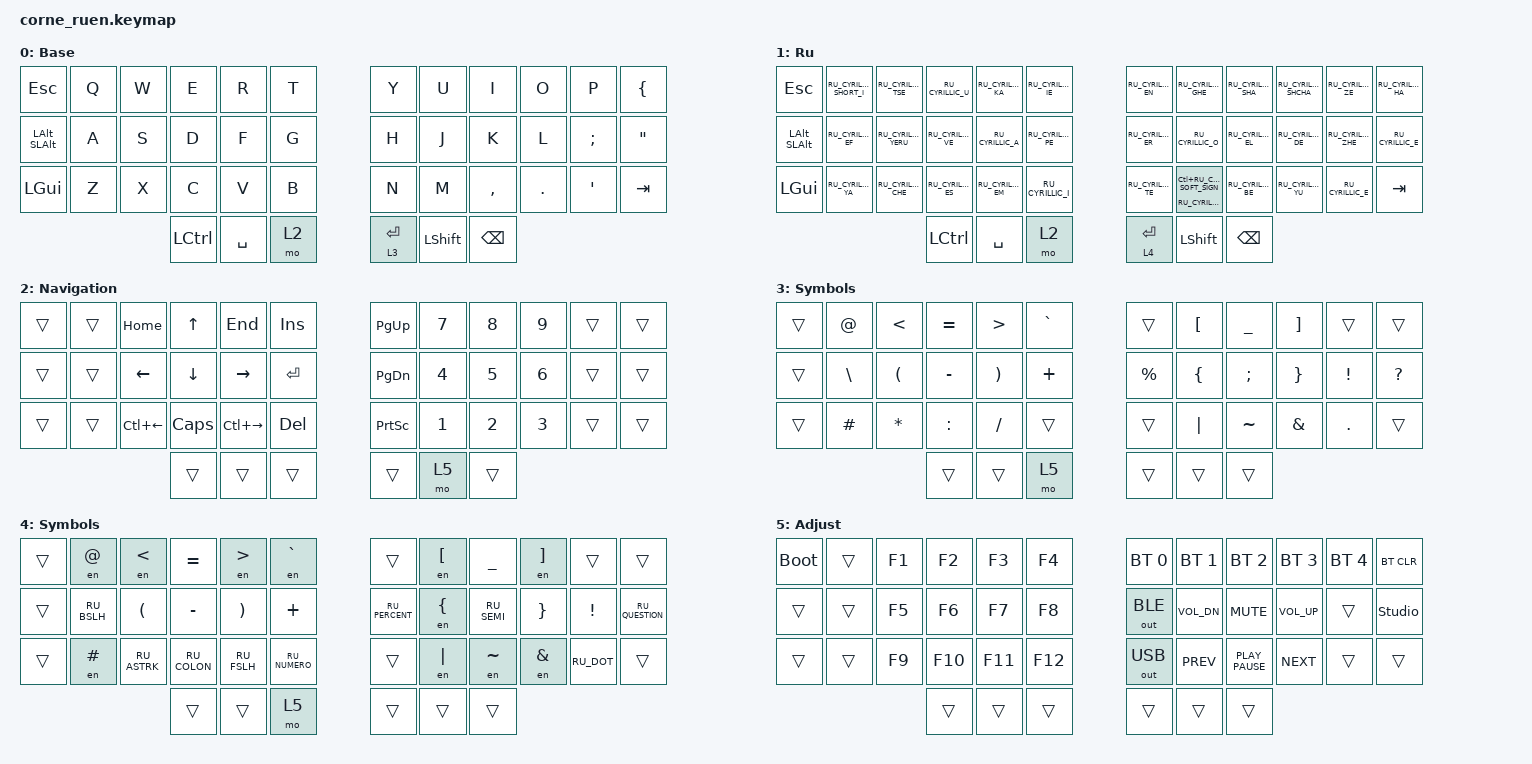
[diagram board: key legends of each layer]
#include "keys_ru.h"
#include <behaviors.dtsi>
#include <dt-bindings/zmk/bt.h>
#include <dt-bindings/zmk/keys.h>
#include <dt-bindings/zmk/outputs.h>

/ {
    combos {
        compatible = "zmk,combos";

        cmben {
            bindings = <&layer_en>;
            key-positions = <15 16>;
            layers = <1>;
        };

        cmbru {
            bindings = <&layer_ru>;
            key-positions = <15 16>;
            layers = <0>;
        };
    };

    macros {
        to_ru: to_ru {
            compatible = "zmk,behavior-macro";
            #binding-cells = <0>;
            bindings = <&kp LA(F20)>;
            label = "TO_RU";
            wait-ms = <0>;
            tap-ms = <30>;
        };

        to_en: to_en {
            compatible = "zmk,behavior-macro";
            #binding-cells = <0>;
            bindings = <&kp LA(F19)>;
            label = "TO_EN";
            wait-ms = <0>;
            tap-ms = <30>;
        };

        layer_en: layer_en {
            compatible = "zmk,behavior-macro";
            #binding-cells = <0>;
            bindings = <&to 0 &to_en>;
            label = "LAYER_EN";
            wait-ms = <0>;
            tap-ms = <30>;
        };

        layer_ru: layer_ru {
            compatible = "zmk,behavior-macro";
            #binding-cells = <0>;
            bindings = <&to 1 &to_ru>;
            label = "LAYER_RU";
            tap-ms = <30>;
            wait-ms = <0>;
        };

        en: en {
            compatible = "zmk,behavior-macro-one-param";
            #binding-cells = <1>;
            bindings =
                <&to_en>,
                <&macro_press>,
                <&macro_param_1to1 &kp MACRO_PLACEHOLDER>,
                <&macro_pause_for_release>,
                <&macro_release>,
                <&macro_param_1to1 &kp MACRO_PLACEHOLDER>,
                <&macro_tap>,
                <&to_ru>;

            label = "EN";
            wait-ms = <0>;
            tap-ms = <30>;
        };
    };

    behaviors {
        LAlt_SLAlt: LAlt_SLAlt {
            compatible = "zmk,behavior-tap-dance";
            label = "LALT_SLALT";
            #binding-cells = <0>;
            bindings = <&kp LALT>, <&kp LS(LALT)>;
        };

        ru_soft_hard_sign: ru_soft_hard_sign {
            compatible = "zmk,behavior-hold-tap";
            label = "RU_SOFT_HARD_SIGN";
            bindings = <&kp>, <&kp>;

            #binding-cells = <2>;
            tapping-term-ms = <200>;
        };

        mo_kp: mo_kp {
            compatible = "zmk,behavior-hold-tap";
            label = "MO_KP";
            bindings = <&mo>, <&kp>;

            #binding-cells = <2>;
            tapping-term-ms = <200>;
        };
    };

    keymap {
        compatible = "zmk,keymap";

        en {
            bindings = <
&kp ESC      &kp Q  &kp W  &kp E  &kp R      &kp T                               &kp Y       &kp U          &kp I      &kp O    &kp P     &kp LEFT_BRACE
&LAlt_SLAlt  &kp A  &kp S  &kp D  &kp F      &kp G                               &kp H       &kp J          &kp K      &kp L    &kp SEMI  &kp DQT
&kp LGUI     &kp Z  &kp X  &kp C  &kp V      &kp B                               &kp N       &kp M          &kp COMMA  &kp DOT  &kp SQT   &kp TAB
                                  &kp LCTRL  &kp SPACE  &mo 2    &mo_kp 3 ENTER  &kp LSHIFT  &kp BACKSPACE
            >;

            display-name = "Base";
        };

        ru {
            display-name = "Ru";
            bindings = <
&kp ESC      &kp RU_CYRILLIC_SHORT_I  &kp RU_CYRILLIC_TSE   &kp RU_CYRILLIC_U   &kp RU_CYRILLIC_KA  &kp RU_CYRILLIC_IE                           &kp RU_CYRILLIC_EN  &kp RU_CYRILLIC_GHE                                                 &kp RU_CYRILLIC_SHA  &kp RU_CYRILLIC_SHCHA  &kp RU_CYRILLIC_ZE   &kp RU_CYRILLIC_HA
&LAlt_SLAlt  &kp RU_CYRILLIC_EF       &kp RU_CYRILLIC_YERU  &kp RU_CYRILLIC_VE  &kp RU_CYRILLIC_A   &kp RU_CYRILLIC_PE                           &kp RU_CYRILLIC_ER  &kp RU_CYRILLIC_O                                                   &kp RU_CYRILLIC_EL   &kp RU_CYRILLIC_DE     &kp RU_CYRILLIC_ZHE  &kp RU_CYRILLIC_E
&kp LGUI     &kp RU_CYRILLIC_YA       &kp RU_CYRILLIC_CHE   &kp RU_CYRILLIC_ES  &kp RU_CYRILLIC_EM  &kp RU_CYRILLIC_I                            &kp RU_CYRILLIC_TE  &ru_soft_hard_sign RU_CYRILLIC_HARD_SIGN LC(RU_CYRILLIC_SOFT_SIGN)  &kp RU_CYRILLIC_BE   &kp RU_CYRILLIC_YU     &kp RU_CYRILLIC_E    &kp TAB
                                                                                &kp LCTRL           &kp SPACE           &mo 2    &mo_kp 4 ENTER  &kp LSHIFT          &kp BACKSPACE
            >;
        };

        nav {
            bindings = <
&trans  &trans  &kp HOME      &kp UP    &kp END        &kp INS                    &kp PG_UP        &kp N7  &kp N8  &kp N9  &trans  &trans
&trans  &trans  &kp LEFT      &kp DOWN  &kp RIGHT      &kp RET                    &kp PG_DN        &kp N4  &kp N5  &kp N6  &trans  &trans
&trans  &trans  &kp LC(LEFT)  &kp CAPS  &kp LC(RIGHT)  &kp DEL                    &kp PRINTSCREEN  &kp N1  &kp N2  &kp N3  &trans  &trans
                                        &trans         &trans   &trans    &trans  &mo 5            &trans
            >;

            display-name = "Navigation";
        };

        sym_en {
            bindings = <
&trans  &kp AT    &kp LT    &kp EQUAL  &kp GT    &kp GRAVE                   &trans     &kp LBKT  &kp UNDER  &kp RBKT  &trans    &trans
&trans  &kp BSLH  &kp LPAR  &kp MINUS  &kp RPAR  &kp PLUS                    &kp PRCNT  &kp LBRC  &kp SEMI   &kp RBRC  &kp EXCL  &kp QUESTION
&trans  &kp HASH  &kp STAR  &kp COLON  &kp FSLH  &trans                      &trans     &kp PIPE  &kp TILDE  &kp AMPS  &kp DOT   &trans
                                       &trans    &trans     &mo 5    &trans  &trans     &trans
            >;

            display-name = "Symbols";
        };

        sym_ru {
            display-name = "Symbols";
            bindings = <
&trans  &en AT_SIGN  &en LT        &kp EQUAL     &en GT       &en GRAVE                       &trans          &en LBKT  &kp UNDER    &en RBKT  &trans      &trans
&trans  &kp RU_BSLH  &kp LPAR      &kp MINUS     &kp RPAR     &kp PLUS                        &kp RU_PERCENT  &en LBRC  &kp RU_SEMI  &kp RBRC  &kp EXCL    &kp RU_QUESTION
&trans  &en HASH     &kp RU_ASTRK  &kp RU_COLON  &kp RU_FSLH  &kp RU_NUMERO                   &trans          &en PIPE  &en TILDE    &en AMPS  &kp RU_DOT  &trans
                                                 &trans       &trans         &mo 5    &trans  &trans          &trans
            >;
        };

        adj {
            bindings = <
&bootloader  &trans  &kp F1  &kp F2   &kp F3   &kp F4                     &bt BT_SEL 0  &bt BT_SEL 1  &bt BT_SEL 2      &bt BT_SEL 3  &bt BT_SEL 4  &bt BT_CLR
&trans       &trans  &kp F5  &kp F6   &kp F7   &kp F8                     &out OUT_BLE  &kp C_VOL_DN  &kp K_MUTE        &kp C_VOL_UP  &trans        &studio_unlock
&trans       &trans  &kp F9  &kp F10  &kp F11  &kp F12                    &out OUT_USB  &kp K_PREV    &kp K_PLAY_PAUSE  &kp K_NEXT    &trans        &trans
                                      &trans   &trans   &trans    &trans  &trans        &trans
            >;

            display-name = "Adjust";
        };
    };
};
